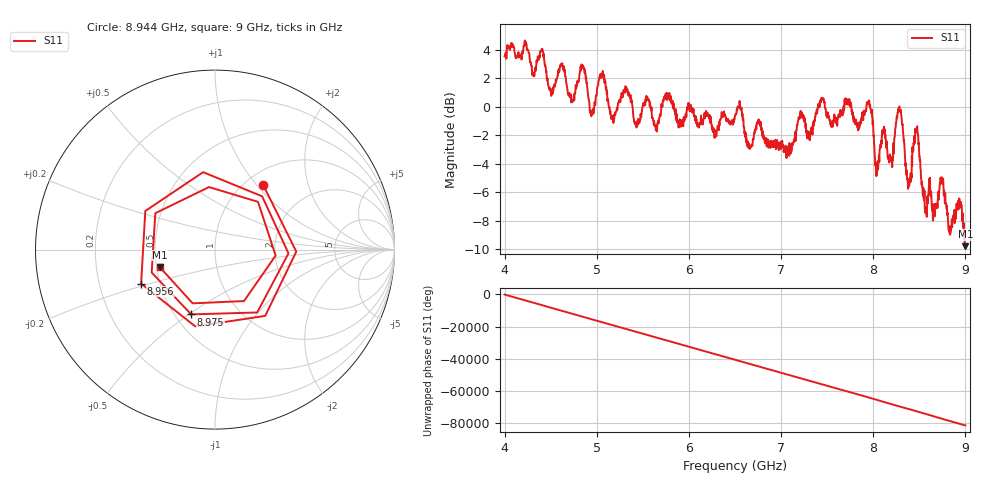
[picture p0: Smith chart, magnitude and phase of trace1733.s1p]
! Created with skrf 1.8.0 (http://scikit-rf.org).
# Hz S RI R 50.0
!freq ReS11 ImS11
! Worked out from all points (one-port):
!   1601 points, 4 GHz to 9 GHz, reference 50 ohm
!   lowest |S11| = -9.8 dB at 9 GHz (marker M1), VSWR 1.96, Z = 26 - j5.6 ohm
!   |S11| at or under -10 dB: nowhere
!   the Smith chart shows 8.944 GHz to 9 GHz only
!   S11 on the Smith chart (normalised r, x): 8.944 GHz: 1.19, +1.08; 8.956 GHz: 0.39, -0.19; 8.975 GHz: 0.60, -0.51; 9 GHz: 0.52, -0.11
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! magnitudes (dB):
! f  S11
! 4 GHz  3.6
! 4.403 GHz  4.1
! 4.503 GHz  0.9
! 4.625 GHz  3.1
! 4.731 GHz  0.4
! 4.85 GHz  2.9
! 4.947 GHz  -0.5
! 5.053 GHz  2.3
! 5.166 GHz  -0.6
! 5.25 GHz  0.4
! 5.875 GHz  -1.0
! 6.5 GHz  -0.7
! 6.656 GHz  -2.9
! 7.125 GHz  -2.7
! 7.447 GHz  0.5
! 7.75 GHz  0.0
! 7.959 GHz  0.3
! 8.041 GHz  -4.1
! 8.112 GHz  -1.7
! 8.197 GHz  -3.9
! 8.288 GHz  -0.3
! 8.375 GHz  -5.5
! 8.469 GHz  -1.6
! 8.562 GHz  -7.4
! 8.944 GHz  -6.9
! 8.956 GHz  -6.9
! 8.975 GHz  -8.3
! 9 GHz  -9.8
